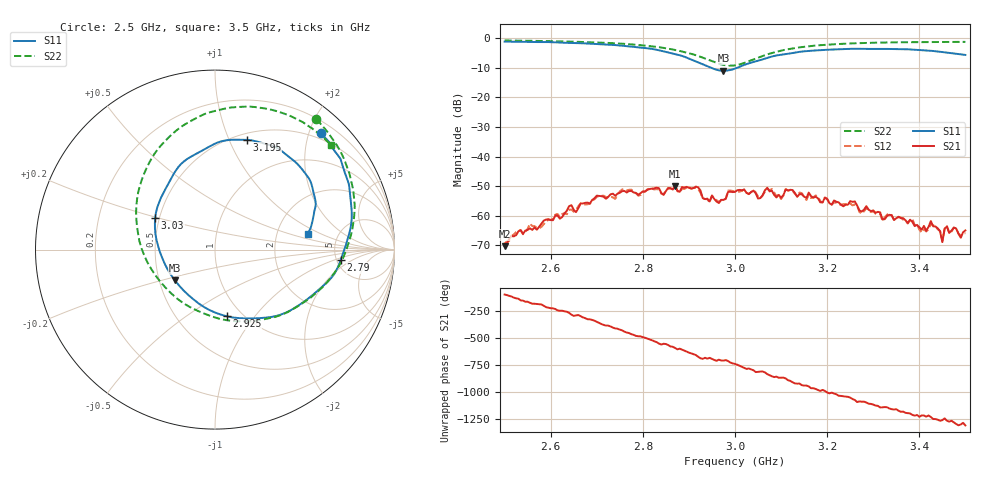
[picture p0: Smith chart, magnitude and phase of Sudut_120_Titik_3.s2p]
# Hz S RI R 50
! CMT, C1220, 16058040, 17.2.0/1
! Date: 15/08/2018 10:41:26
! Data: Format (Calibration Info)
! Freq  S11: Re/Im (F2)  S21: Re/Im (F2)  S12: Re/Im (F2)  S22: Re/Im (F2)
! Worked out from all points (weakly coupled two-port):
!   201 points, 2.5 GHz to 3.5 GHz, reference 50 ohm
!   highest |S21| = -49.96 dB at 2.87 GHz (marker M1); lowest = -70.3 dB at 2.5 GHz (marker M2)
!   lowest |S11| = -11.0 dB at 2.975 GHz (marker M3), VSWR 1.78, Z = 30.1 - j11.1 ohm
!   |S11| at or under -10 dB: 2.949 GHz to 3.004 GHz (55.5 MHz wide, 1.86 % of centre)
!   |S22| runs from -9.2 to -0.7 dB; largest |S21 - S12| = 0.00032
!   S11 on the Smith chart (normalised r, x): 2.5 GHz: 0.39, +2.21; 2.79 GHz: 5.45, -1.22; 2.925 GHz: 0.85, -0.73; 3.03 GHz: 0.47, +0.19; 3.195 GHz: 0.57, +1.16; 3.5 GHz: 3.00, +0.72
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2.5e9  0.5918 0.6483  -6.46e-05 -0.000297  -0.0001 -0.000319  0.5638 0.7252
2.67e9  0.7491 0.3406  0.00109 0.00118  0.00112 0.00108  0.7386 0.4529
2.76e9  0.7395 0.0591  0.000258 -0.0026  0.00033 -0.0028  0.7772 0.2098
2.79e9  0.7008 -0.0567  -0.00135 -0.00181  -0.00137 -0.0017  0.7635 0.1061
2.835e9  0.5892 -0.2138  -0.00282 0.000734  -0.00271 0.000612  0.7039 -0.0669
2.87e9  0.4183 -0.3401  -0.00183 0.00259  -0.00188 0.0026  0.5982 -0.2101
2.925e9  0.0641 -0.3711  0.00231 0.00134  0.00205 0.00136  0.299 -0.3831
2.975e9  -0.2242 -0.1703  0.00182 0.000274  0.00181 0.000278  -0.0979 -0.3405
3e9  -0.3067 -0.014  0.00234 -0.000937  0.00228 -0.00103  -0.275 -0.2126
3.03e9  -0.3333 0.1756  0.00101 -0.00208  0.00101 -0.00211  -0.4096 0.00765
3.105e9  -0.1379 0.5154  -0.00189 -0.00117  -0.00189 -0.00109  -0.3384 0.5319
3.17e9  0.0929 0.6119  -0.000821 0.00183  -0.000962 0.0018  -0.0885 0.7411
3.195e9  0.1777 0.6112  2.26e-05 0.002  0.000143 0.00202  0.00266 0.7733
3.32e9  0.4679 0.4679  0.000401 -0.000759  0.000435 -0.000694  0.3602 0.7659
3.335e9  0.49 0.4413  0.000307 -0.000986  0.000301 -0.00103  0.3924 0.7553
3.385e9  0.5419 0.3486  -0.000527 -0.000578  -0.000571 -0.000667  0.4884 0.7105
3.405e9  0.5539 0.2985  -0.00042 -0.000394  -0.000386 -0.000342  0.5197 0.6889
3.425e9  0.5612 0.2517  -0.000707 -0.000388  -0.000644 -0.000336  0.5497 0.6688
3.45e9  0.5509 0.1978  -0.000356 1.37e-06  -0.000371 -2.72e-05  0.586 0.6401
3.46e9  0.5456 0.1716  -0.000653 6.97e-05  -0.000632 0.000181  0.5987 0.6299
3.49e9  0.5255 0.1053  -0.000325 0.000269  -0.000376 0.00027  0.6344 0.5942
3.5e9  0.5156 0.087  -0.000367 0.000425  -0.000305 0.000401  0.6455 0.5831
